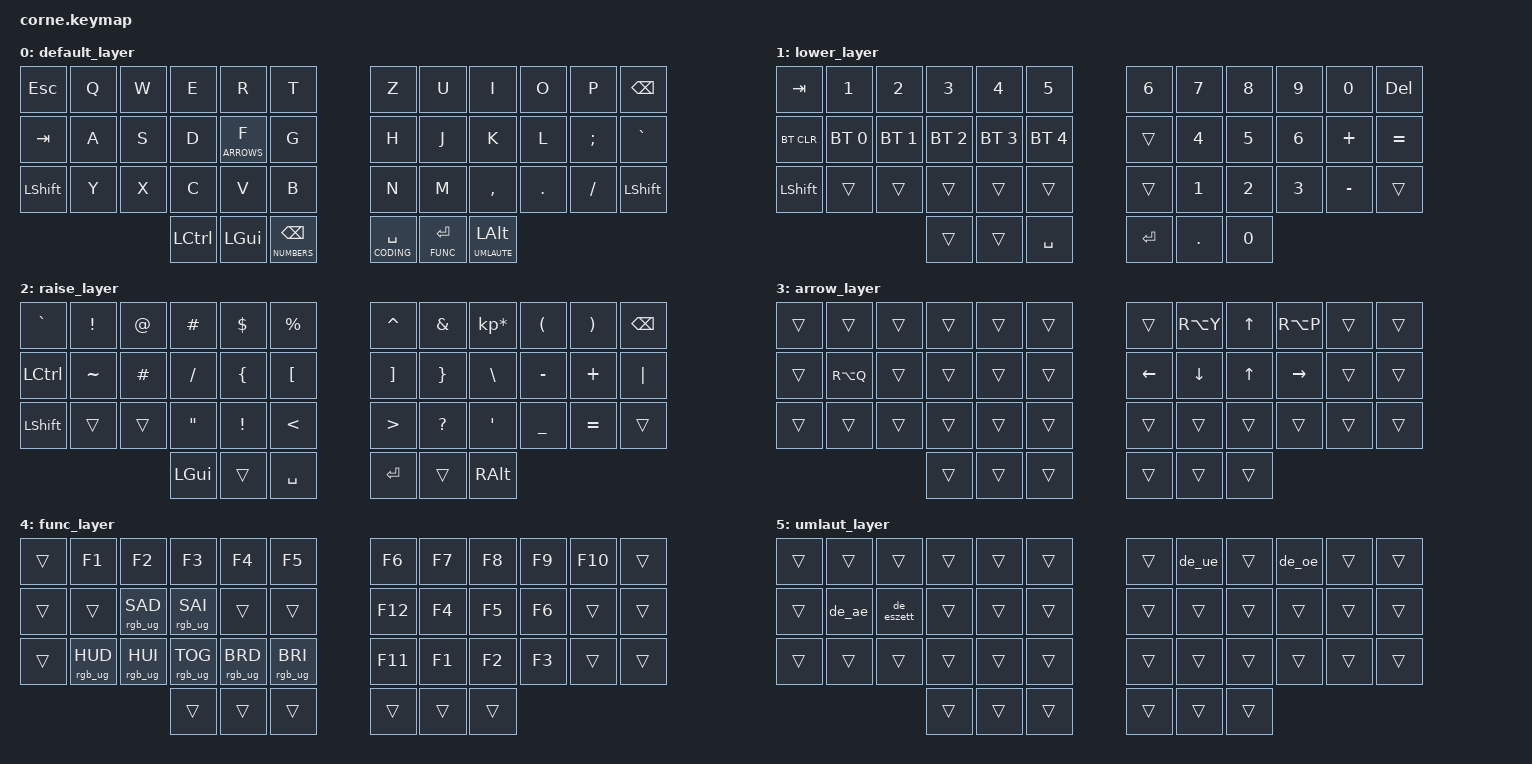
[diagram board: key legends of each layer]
/*
 * Copyright (c) 2020 The ZMK Contributors
 *
 * SPDX-License-Identifier: MIT
 */

#define HOST_OS 1

#include <behaviors.dtsi>
#include <dt-bindings/zmk/keys.h>
#include <dt-bindings/zmk/bt.h>
#include <dt-bindings/zmk/rgb.h>
#include <dt-bindings/zmk/backlight.h>
#include "zmk-helpers/helper.h"
#include "zmk-helpers/unicode-chars/german.dtsi"

#define DEFAULT 0
#define NUMBERS 1
#define CODING  2
#define ARROWS  3
#define FUNC    4
#define UMLAUTE 5

&led_strip {
    chain-length = <27>;
};

/ {
        keymap {
                compatible = "zmk,keymap";

                default_layer {
                        bindings = <
   &kp ESC   &kp Q &kp W  &kp E &kp R        &kp T        &kp Z &kp U  &kp I     &kp O      &kp P     &kp BSPC
   &kp TAB   &kp A &kp S  &kp D &lt ARROWS F &kp G        &kp H &kp J  &kp K     &kp L      &kp SEMI  &kp GRAVE
   &kp LSHFT &kp Y &kp X  &kp C &kp V        &kp B        &kp N &kp M  &kp COMMA &kp DOT    &kp SLASH &kp LSHFT
                    &kp LCTRL &kp LGUI &lt NUMBERS BSPC   &lt CODING SPACE &lt FUNC RET  &lt UMLAUTE LALT
                        >;
                };
                lower_layer {
                        bindings = <
   &kp TAB    &kp N1       &kp N2       &kp N3       &kp N4       &kp N5         &kp N6   &kp N7   &kp N8 &kp N9    &kp N0 &kp DEL
   &bt BT_CLR &bt BT_SEL 0 &bt BT_SEL 1 &bt BT_SEL 2 &bt BT_SEL 3 &bt BT_SEL 4   &trans   &kp N4   &kp N5 &kp N6    &kp PLUS &kp EQUAL
   &kp LSHFT  &trans       &trans       &trans       &trans       &trans         &trans   &kp N1   &kp N2 &kp N3    &kp MINUS &trans
                                        &trans     &trans       &kp SPACE      &kp RET  &kp DOT  &kp N0
                        >;
                };

                raise_layer {
                        bindings = <
   &kp GRAVE  &kp EXCL  &kp AT   &kp HASH   &kp DLLR  &kp PRCNT     &kp CARET &kp AMPS  &kp KP_MULTIPLY &kp LPAR   &kp RPAR  &kp BSPC
   &kp LCTRL  &kp TILDE &kp HASH &kp SLASH  &kp LBRC  &kp LBKT      &kp RBKT  &kp RBRC  &kp BSLH        &kp MINUS  &kp PLUS  &kp PIPE
   &kp LSHFT  &trans    &trans   &kp DQT    &kp EXCL  &kp LT        &kp GT    &kp QMARK &kp SQT          &kp UNDER  &kp EQUAL &trans
                                 &kp LGUI   &trans    &kp SPACE     &kp RET   &trans    &kp RALT
                        >;
                };

                arrow_layer {
                        bindings = <
   &trans &trans &trans &trans &trans &trans    &trans &kp RA(Y) &kp UP &kp RA(P) &trans &trans
   &trans &kp RA(Q) &trans &trans &trans &trans    &kp LEFT &kp DOWN &kp UP &kp RIGHT &trans &trans
   &trans &trans &trans &trans &trans &trans    &trans &trans   &trans   &trans    &trans &trans
                        &trans &trans &trans    &trans &trans &trans    
                        >;
                };

                func_layer {
                        bindings = <
   &trans &kp F1 &kp F2 &kp F3 &kp F4 &kp F5    &kp F6  &kp F7   &kp F8   &kp F9    &kp F10 &trans
   &trans &trans &rgb_ug RGB_SAD &rgb_ug RGB_SAI &trans &trans    &kp F12 &kp F4   &kp F5   &kp F6    &trans &trans
   &trans &rgb_ug RGB_HUD &rgb_ug RGB_HUI &rgb_ug RGB_TOG &rgb_ug RGB_BRD &rgb_ug RGB_BRI    &kp F11 &kp F1   &kp F2   &kp F3    &trans &trans
                        &trans &trans &trans    &trans &trans &trans    
                        >;
                };
                umlaut_layer {
                        bindings = <
   &trans &trans &trans &trans &trans &trans    &trans &de_ue   &trans   &de_oe    &trans &trans
   &trans &de_ae &de_eszett &trans &trans &trans    &trans &trans   &trans   &trans    &trans &trans
   &trans &trans &trans &trans &trans &trans    &trans &trans   &trans   &trans    &trans &trans
                        &trans &trans &trans    &trans &trans &trans    
                        >;
                };
        };
};
